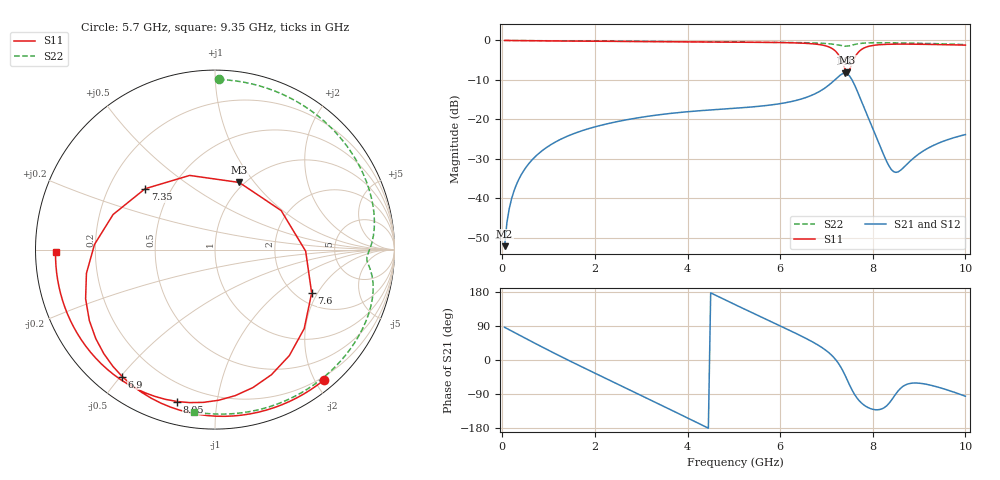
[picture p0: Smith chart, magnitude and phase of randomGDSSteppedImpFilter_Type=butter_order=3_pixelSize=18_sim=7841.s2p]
! freq	dB(S11)	phase(S11)	dB(S12)	phase(S12)
!  dB(S21)	phase(S21)	dB(S22)	phase(S22)
!S-par simulation data
#  GHz  S  DB  R 50
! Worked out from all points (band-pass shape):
!   200 points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, 50 MHz to 10 GHz, reference 50 ohm
!   highest |S21| = -8.27 dB at 7.4 GHz (marker M1); lowest = -52.1 dB at 50 MHz (marker M2)
!   |S21| within 3 dB of the highest: 7.054 GHz to 7.607 GHz (552.8 MHz wide, 7.54 % of centre)
!   lowest |S11| = -8.0 dB at 7.45 GHz (marker M3), VSWR 2.32, Z = 47.4 + j42.1 ohm
!   |S11| at or under -10 dB: nowhere
!   |S22| runs from -1.4 to 0.0 dB; largest |S21 - S12| = 0
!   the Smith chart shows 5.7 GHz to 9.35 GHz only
!   S11 on the Smith chart (normalised r, x): 5.7 GHz: 0.15, -2.13; 6.9 GHz: 0.08, -0.51; 7.35 GHz: 0.36, +0.33; 7.6 GHz: 2.40, -1.78; 8.05 GHz: 0.11, -0.78; 9.35 GHz: 0.06, -0.01
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0.05  -0.00 -4.2  -52.07 86.2  -52.07 86.2  -0.00 -2.4
0.2  -0.02 -16.5  -40.10 76.6  -40.10 76.6  -0.01 -9.7
0.5  -0.06 -41.0  -32.31 57.2  -32.31 57.2  -0.03 -24.1
1.1  -0.12 -88.6  -26.02 19.4  -26.02 19.4  -0.08 -52.6
1.75  -0.18 -138.2  -22.74 -20.0  -22.74 -20.0  -0.13 -82.6
2.5  -0.24 166.0  -20.50 -64.0  -20.50 -64.0  -0.18 -116.4
3.4  -0.31 99.4  -18.79 -117.2  -18.79 -117.2  -0.25 -156.7
4.3  -0.37 35.3  -17.75 -171.0  -17.75 -171.0  -0.34 161.2
5.05  -0.41 -12.7  -17.14 144.7  -17.14 144.7  -0.40 123.6
5.7  -0.47 -50.1  -16.47 107.2  -16.47 107.2  -0.46 88.7
6.7  -0.85 -109.4  -13.79 47.7  -13.79 47.7  -0.62 32.7
6.9  -1.15 -126.1  -12.56 33.1  -12.56 33.1  -0.71 21.4
7.2  -2.75 -169.6  -9.77 0.8  -9.77 0.8  -1.05 5.1
7.35  -5.74 139.0  -8.40 -27.6  -8.40 -27.6  -1.37 -1.3
7.4  -7.20 108.9  -8.27 -39.9  -8.27 -39.9  -1.44 -2.8
7.45  -8.01 70.1  -8.46 -53.1  -8.46 -53.1  -1.43 -4.0
7.6  -4.58 -24.2  -11.09 -89.5  -11.09 -89.5  -1.04 -9.5
7.8  -1.97 -74.6  -16.64 -118.0  -16.64 -118.0  -0.68 -20.3
8.05  -1.19 -104.0  -23.69 -131.2  -23.69 -131.2  -0.58 -33.7
8.35  -0.96 -126.0  -31.76 -114.4  -31.76 -114.4  -0.59 -49.0
9.35  -1.03 -179.2  -26.35 -69.6  -26.35 -69.6  -0.81 -97.3
10  -1.18 146.3  -23.83 -95.6  -23.83 -95.6  -1.05 -131.0
